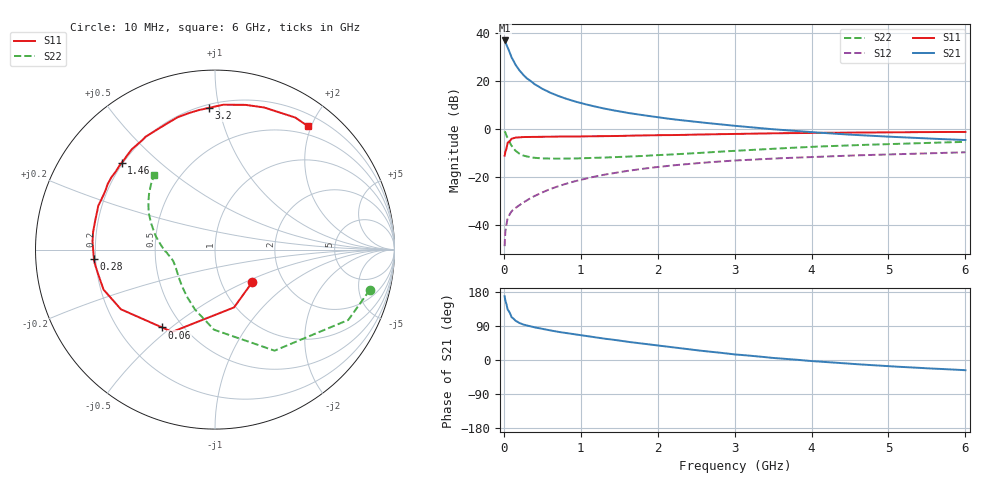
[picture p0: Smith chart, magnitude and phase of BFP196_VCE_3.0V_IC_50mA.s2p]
! Infineon Technologies  Discrete & RF Semiconductors
! BFP196
! VCE = 3.0 V,  IC =  50mA
! Common Emitter S-Parameters:  Jan 2016
# GHz  S  MA  R  50
!  f  S11  S21  S12  S22
! GHz  MAG  ANG  MAG  ANG  MAG  ANG  MAG  ANG
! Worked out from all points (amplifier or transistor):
!   210 points, 10 MHz to 6 GHz, reference 50 ohm
!   highest |S21| = 36.8 dB at 10 MHz (marker M1)
!   |S21| within 3 dB of that: start of sweep to 50.4 MHz
!   unconditionally stable (mu >= 1): 452 MHz to 4.392 GHz
!   at 185 MHz: K = 0.73, MSG = 28.7 dB, |S12| = -32.2 dB
!   at 1.52 GHz: K = 1.09, MAG = 10.8 dB, |S12| = -17.9 dB
!   at 6 GHz: K = 0.98, MSG = 2.6 dB, |S12| = -9.8 dB
!   S11 on the Smith chart (normalised r, x): 10 MHz: 1.39, -0.55; 60 MHz: 0.39, -0.46; 280 MHz: 0.19, -0.04; 1.46 GHz: 0.20, +0.38; 3.2 GHz: 0.22, +0.93; 6 GHz: 0.37, +1.95
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0.01  0.2757 -41.4  69.34 168.4  0.0036 80.3  0.8912 -14.6
0.02  0.339 -71.7  64.72 156.7  0.0072 70.7  0.8398 -27.8
0.05  0.517 -117.5  49.25 133.0  0.0139 55.5  0.6536 -59.5
0.06  0.5247 -124.3  45.26 130.3  0.0149 53.7  0.601 -63.9
0.1  0.6208 -147.6  30.89 113.2  0.0192 48.3  0.4462 -90.7
0.15  0.6599 -160.3  21.74 103.6  0.0225 48.9  0.3519 -108.5
0.2  0.6651 -168.1  16.69 97.8  0.0254 52.6  0.3058 -120.6
0.24  0.6726 -172.4  14.06 94.7  0.0284 53.8  0.2838 -128.1
0.28  0.676 -175.7  12.11 92.1  0.031 55.7  0.2706 -133.7
0.3  0.6773 -177.3  11.24 90.8  0.0323 56.6  0.2656 -136.3
0.4  0.6838 176.2  8.519 86.1  0.04 60.0  0.2494 -145.8
0.5  0.6862 171.8  6.819 82.1  0.0472 61.8  0.2425 -152.1
0.6  0.6867 166.9  5.694 78.2  0.0555 62.5  0.2403 -156.3
0.7  0.6889 162.9  4.896 74.5  0.0631 62.7  0.2396 -159.6
1.02  0.6945 151.1  3.378 64.8  0.0885 60.7  0.2439 -166.4
1.46  0.7096 137.2  2.377 52.5  0.1222 55.8  0.2581 -172.5
2.02  0.7383 121.1  1.724 37.8  0.1617 47.9  0.2843 179.6
3.1  0.7857 94.6  1.12 13.2  0.223 32.1  0.3547 163.5
3.2  0.79 92.6  1.083 11.4  0.2273 30.6  0.362 161.9
4.1  0.8258 76.6  0.833 -4.1  0.2628 19.4  0.4287 149.6
5.1  0.8479 63.2  0.676 -17.5  0.2966 8.2  0.4866 138.6
6  0.8608 53.1  0.585 -26.9  0.325 -1.8  0.5359 129.1
